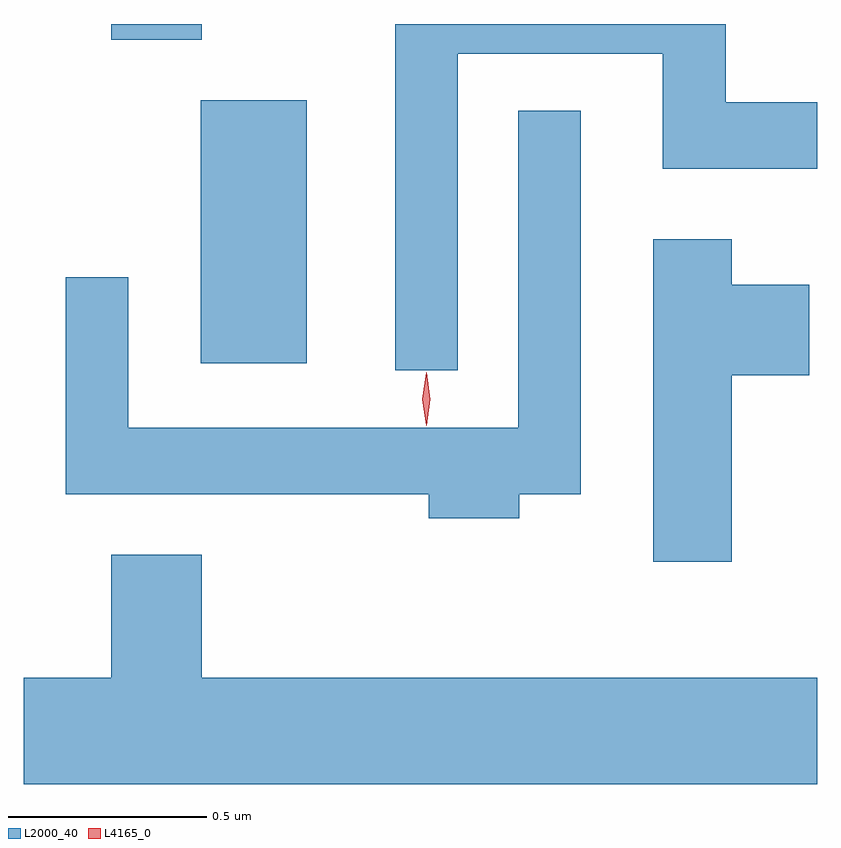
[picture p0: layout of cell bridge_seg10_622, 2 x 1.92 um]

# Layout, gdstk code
import gdstk
lib = gdstk.Library(unit=1e-6, precision=1e-09)
def R(c, l, rs):  # rectangles x0, y0, x1, y1
    for r in rs: c.add(gdstk.rectangle(r[:2], r[2:], *l))
def P(c, l, *ps):  # polygons
    for p in ps: c.add(gdstk.Polygon(p, *l))
L2000_40 = (2000, 40)
L4165_0 = (4165, 0)

bridge_seg10_622 = lib.new_cell('bridge_seg10_622')
R(bridge_seg10_622, L2000_40, [(826.876,2148.276,827.144,2148.939), (826.651,2149.091,826.879,2149.131)])
P(bridge_seg10_622, L2000_40, [(827.524,2149.056),(828.041,2149.056),(828.041,2148.766),(828.43,2148.766),(828.43,2148.934),(828.199,2148.934),(828.199,2149.131),(827.366,2149.131),(827.366,2148.258),(827.524,2148.258)],
  [(827.679,2147.946),(827.834,2147.946),(827.834,2148.913),(827.676,2148.913),(827.676,2148.114),(826.694,2148.114),(826.694,2148.493),(826.536,2148.493),(826.536,2147.946),(827.451,2147.946),(827.451,2147.886),(827.679,2147.886)],
  [(828.214,2148.246),(828.409,2148.246),(828.409,2148.474),(828.214,2148.474),(828.214,2148.589),(828.016,2148.589),(828.016,2147.776),(828.214,2147.776)],
  [(828.43,2147.484),(826.879,2147.484),(826.879,2147.794),(826.651,2147.794),(826.651,2147.484),(826.43,2147.484),(826.43,2147.216),(828.43,2147.216)])
P(bridge_seg10_622, L4165_0, [(827.445,2148.119),(827.444,2148.12),(827.435,2148.186),(827.444,2148.252),(827.445,2148.253),(827.446,2148.252),(827.455,2148.186),(827.446,2148.12)])

lib.write_gds('bridge_seg10_622.gds')
